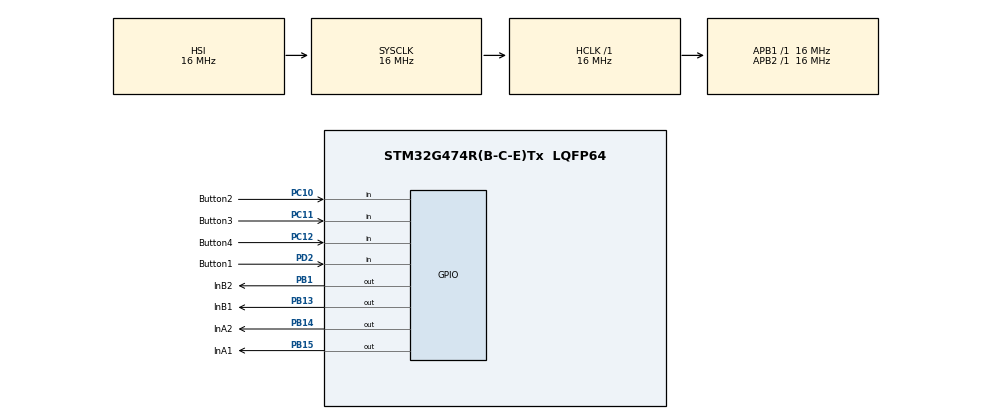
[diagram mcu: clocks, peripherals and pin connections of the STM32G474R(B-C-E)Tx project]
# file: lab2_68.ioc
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FREERTOS.Tasks01=defaultTask,24,128,StartDefaultTask,Default,NULL,Dynamic,NULL,NULL;input_task,8,128,inputTask,Default,NULL,Dynamic,NULL,NULL;output_task,8,128,outputTask,Default,NULL,Dynamic,NULL,NULL
Mcu.Family=STM32G4
Mcu.Name=STM32G474R(B-C-E)Tx
Mcu.Package=LQFP64
NVIC.PriorityGroup=NVIC_PRIORITYGROUP_4
PB1.GPIO_Label=InB2
PB1.Signal=GPIO_Output
PB13.GPIO_Label=InB1
PB13.Signal=GPIO_Output
PB14.GPIO_Label=InA2
PB14.Signal=GPIO_Output
PB15.GPIO_Label=InA1
PB15.Signal=GPIO_Output
PC10.GPIO_Label=Button2
PC10.GPIO_PuPd=GPIO_PULLUP
PC10.Signal=GPIO_Input
PC11.GPIO_Label=Button3
PC11.GPIO_PuPd=GPIO_PULLUP
PC11.Signal=GPIO_Input
PC12.GPIO_Label=Button4
PC12.GPIO_PuPd=GPIO_PULLUP
PC12.Signal=GPIO_Input
PD2.GPIO_Label=Button1
PD2.GPIO_PuPd=GPIO_PULLUP
PD2.Signal=GPIO_Input
ProjectManager.HeapSize=0x200
ProjectManager.StackSize=0x400
ProjectManager.TargetToolchain=STM32CubeIDE
RCC.AHBFreq_Value=16000000
RCC.APB1Freq_Value=16000000
RCC.APB1TimFreq_Value=16000000
RCC.APB2Freq_Value=16000000
RCC.APB2TimFreq_Value=16000000
RCC.CortexFreq_Value=16000000
RCC.EXTERNAL_CLOCK_VALUE=12288000
RCC.HCLKFreq_Value=16000000
RCC.HSE_VALUE=8000000
RCC.HSI48_VALUE=48000000
RCC.HSI_VALUE=16000000
RCC.LSE_VALUE=32768
RCC.SYSCLKFreq_VALUE=16000000
RCC.USBFreq_Value=64000000
RCC.VCOOutputFreq_Value=128000000
VP_FREERTOS_VS_CMSIS_V2.Mode=CMSIS_V2
VP_SYS_VS_DBSignals.Mode=DisableDeadBatterySignals
board=custom

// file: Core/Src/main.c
/* USER CODE BEGIN Header */
/**
  ******************************************************************************
  * @file           : main.c
  * @brief          : Main program body
  ******************************************************************************
  * @attention
  *
  * Copyright (c) 2024 STMicroelectronics.
  * All rights reserved.
  *
  * This software is licensed under terms that can be found in the LICENSE file
  * in the root directory of this software component.
  * If no LICENSE file comes with this software, it is provided AS-IS.
  *
  ******************************************************************************
  */
/* USER CODE END Header */
#include "main.h"
#include "cmsis_os.h"

/* Definitions for defaultTask */
osThreadId_t defaultTaskHandle;
const osThreadAttr_t defaultTask_attributes = {
  .name = "defaultTask",
  .priority = (osPriority_t) osPriorityNormal,
  .stack_size = 128 * 4
};
/* Definitions for input_task */
osThreadId_t input_taskHandle;
const osThreadAttr_t input_task_attributes = {
  .name = "input_task",
  .priority = (osPriority_t) osPriorityLow,
  .stack_size = 128 * 4
};
/* Definitions for output_task */
osThreadId_t output_taskHandle;
const osThreadAttr_t output_task_attributes = {
  .name = "output_task",
  .priority = (osPriority_t) osPriorityLow,
  .stack_size = 128 * 4
};

void SystemClock_Config(void);
static void MX_GPIO_Init(void);
void StartDefaultTask(void *argument);
void inputTask(void *argument);
void outputTask(void *argument);

int main(void)
{

  /* MCU Configuration--------------------------------------------------------*/

  /* Reset of all peripherals, Initializes the Flash interface and the Systick. */
  HAL_Init();

  /* Configure the system clock */
  SystemClock_Config();

  /* Initialize all configured peripherals */
  MX_GPIO_Init();

  /* Init scheduler */
  osKernelInitialize();

  /* Create the thread(s) */
  /* creation of defaultTask */
  defaultTaskHandle = osThreadNew(StartDefaultTask, NULL, &defaultTask_attributes);

  /* creation of input_task */
  input_taskHandle = osThreadNew(inputTask, NULL, &input_task_attributes);

  /* creation of output_task */
  output_taskHandle = osThreadNew(outputTask, NULL, &output_task_attributes);

  /* Start scheduler */
  osKernelStart();

  /* We should never get here as control is now taken by the scheduler */

  /* Infinite loop */
  while (1)
  {

  }
}

void SystemClock_Config(void)
{
  RCC_OscInitTypeDef RCC_OscInitStruct = {0};
  RCC_ClkInitTypeDef RCC_ClkInitStruct = {0};

  /** Configure the main internal regulator output voltage
  */
  HAL_PWREx_ControlVoltageScaling(PWR_REGULATOR_VOLTAGE_SCALE1);

  /** Initializes the RCC Oscillators according to the specified parameters
  * in the RCC_OscInitTypeDef structure.
  */
  RCC_OscInitStruct.OscillatorType = RCC_OSCILLATORTYPE_HSI;
  RCC_OscInitStruct.HSIState = RCC_HSI_ON;
  RCC_OscInitStruct.HSICalibrationValue = RCC_HSICALIBRATION_DEFAULT;
  RCC_OscInitStruct.PLL.PLLState = RCC_PLL_NONE;
  if (HAL_RCC_OscConfig(&RCC_OscInitStruct) != HAL_OK)
  {
    Error_Handler();
  }

  /** Initializes the CPU, AHB and APB buses clocks
  */
  RCC_ClkInitStruct.ClockType = RCC_CLOCKTYPE_HCLK|RCC_CLOCKTYPE_SYSCLK
                              |RCC_CLOCKTYPE_PCLK1|RCC_CLOCKTYPE_PCLK2;
  RCC_ClkInitStruct.SYSCLKSource = RCC_SYSCLKSOURCE_HSI;
  RCC_ClkInitStruct.AHBCLKDivider = RCC_SYSCLK_DIV1;
  RCC_ClkInitStruct.APB1CLKDivider = RCC_HCLK_DIV1;
  RCC_ClkInitStruct.APB2CLKDivider = RCC_HCLK_DIV1;

  if (HAL_RCC_ClockConfig(&RCC_ClkInitStruct, FLASH_LATENCY_0) != HAL_OK)
  {
    Error_Handler();
  }
}

static void MX_GPIO_Init(void)
{
  GPIO_InitTypeDef GPIO_InitStruct = {0};

  /* GPIO Ports Clock Enable */
  __HAL_RCC_GPIOB_CLK_ENABLE();
  __HAL_RCC_GPIOC_CLK_ENABLE();
  __HAL_RCC_GPIOD_CLK_ENABLE();

  /*Configure GPIO pin Output Level */
  HAL_GPIO_WritePin(GPIOB, InB2_Pin|InB1_Pin|InA2_Pin|InA1_Pin, GPIO_PIN_RESET);

  /*Configure GPIO pins : InB2_Pin InB1_Pin InA2_Pin InA1_Pin */
  GPIO_InitStruct.Pin = InB2_Pin|InB1_Pin|InA2_Pin|InA1_Pin;
  GPIO_InitStruct.Mode = GPIO_MODE_OUTPUT_PP;
  GPIO_InitStruct.Pull = GPIO_NOPULL;
  GPIO_InitStruct.Speed = GPIO_SPEED_FREQ_LOW;
  HAL_GPIO_Init(GPIOB, &GPIO_InitStruct);

  /*Configure GPIO pins : Button2_Pin Button3_Pin Button4_Pin */
  GPIO_InitStruct.Pin = Button2_Pin|Button3_Pin|Button4_Pin;
  GPIO_InitStruct.Mode = GPIO_MODE_INPUT;
  GPIO_InitStruct.Pull = GPIO_PULLUP;
  HAL_GPIO_Init(GPIOC, &GPIO_InitStruct);

  /*Configure GPIO pin : Button1_Pin */
  GPIO_InitStruct.Pin = Button1_Pin;
  GPIO_InitStruct.Mode = GPIO_MODE_INPUT;
  GPIO_InitStruct.Pull = GPIO_PULLUP;
  HAL_GPIO_Init(Button1_GPIO_Port, &GPIO_InitStruct);

}

/* USER CODE BEGIN Header_StartDefaultTask */
/**
  * @brief  Function implementing the defaultTask thread.
  * @param  argument: Not used
  * @retval None
  */

    uint8_t button1State = 0;
    uint8_t button2State = 0;
    uint8_t button3State = 0;
    uint8_t button4State = 0;

/* USER CODE END Header_StartDefaultTask */
void StartDefaultTask(void *argument)
{
  for(;;)
  {
    osDelay(1);
  }
}

void inputTask(void *argument)
{
  /* USER CODE BEGIN inputTask */
  /* Infinite loop */
  for(;;)
  {
	  button1State = HAL_GPIO_ReadPin(Button1_GPIO_Port, Button1_Pin);
	  button3State = HAL_GPIO_ReadPin(Button3_GPIO_Port, Button3_Pin);
	  button2State = HAL_GPIO_ReadPin(Button2_GPIO_Port, Button2_Pin);
	  button4State = HAL_GPIO_ReadPin(Button4_GPIO_Port, Button4_Pin);

    osDelay(10);
  }
  /* USER CODE END inputTask */
}

void outputTask(void *argument)
{
  /* USER CODE BEGIN outputTask */
  /* Infinite loop */
  for(;;)
  {
      if(button1State == GPIO_PIN_RESET)
      {
    	  HAL_GPIO_WritePin(InB1_GPIO_Port, InB1_Pin, GPIO_PIN_RESET);
    	  HAL_GPIO_WritePin(InB2_GPIO_Port, InB2_Pin, GPIO_PIN_RESET);
    	  HAL_GPIO_WritePin(InA1_GPIO_Port, InA1_Pin, GPIO_PIN_SET);
    	  HAL_GPIO_WritePin(InA2_GPIO_Port, InA2_Pin, GPIO_PIN_RESET);
      }
      else if(button2State == GPIO_PIN_RESET)
      {
    	  HAL_GPIO_WritePin(InB1_GPIO_Port, InB1_Pin, GPIO_PIN_RESET);
    	  HAL_GPIO_WritePin(InB2_GPIO_Port, InB2_Pin, GPIO_PIN_RESET);
    	  HAL_GPIO_WritePin(InA1_GPIO_Port, InA1_Pin, GPIO_PIN_RESET);
    	  HAL_GPIO_WritePin(InA2_GPIO_Port, InA2_Pin, GPIO_PIN_SET);
      }
      else if(button3State == GPIO_PIN_RESET)
      {
    	  HAL_GPIO_WritePin(InB1_GPIO_Port, InB1_Pin, GPIO_PIN_RESET);
    	  HAL_GPIO_WritePin(InB2_GPIO_Port, InB2_Pin, GPIO_PIN_SET);
    	  HAL_GPIO_WritePin(InA1_GPIO_Port, InA1_Pin, GPIO_PIN_RESET);
    	  HAL_GPIO_WritePin(InA2_GPIO_Port, InA2_Pin, GPIO_PIN_RESET);
      }
      else if(button4State == GPIO_PIN_RESET)
      {
    	  HAL_GPIO_WritePin(InB1_GPIO_Port, InB1_Pin, GPIO_PIN_SET);
    	  HAL_GPIO_WritePin(InB2_GPIO_Port, InB2_Pin, GPIO_PIN_RESET);
    	  HAL_GPIO_WritePin(InA1_GPIO_Port, InA1_Pin, GPIO_PIN_RESET);
    	  HAL_GPIO_WritePin(InA2_GPIO_Port, InA2_Pin, GPIO_PIN_RESET);
      }
      else
      {
    	  HAL_GPIO_WritePin(InB1_GPIO_Port, InB1_Pin, GPIO_PIN_RESET);
    	  HAL_GPIO_WritePin(InB2_GPIO_Port, InB2_Pin, GPIO_PIN_RESET);
    	  HAL_GPIO_WritePin(InA1_GPIO_Port, InA1_Pin, GPIO_PIN_RESET);
    	  HAL_GPIO_WritePin(InA2_GPIO_Port, InA2_Pin, GPIO_PIN_RESET);
      }

	  osDelay(100);
  }
  /* USER CODE END outputTask */
}

void Error_Handler(void)
{
  __disable_irq();
  while (1)
  {
  }
}
